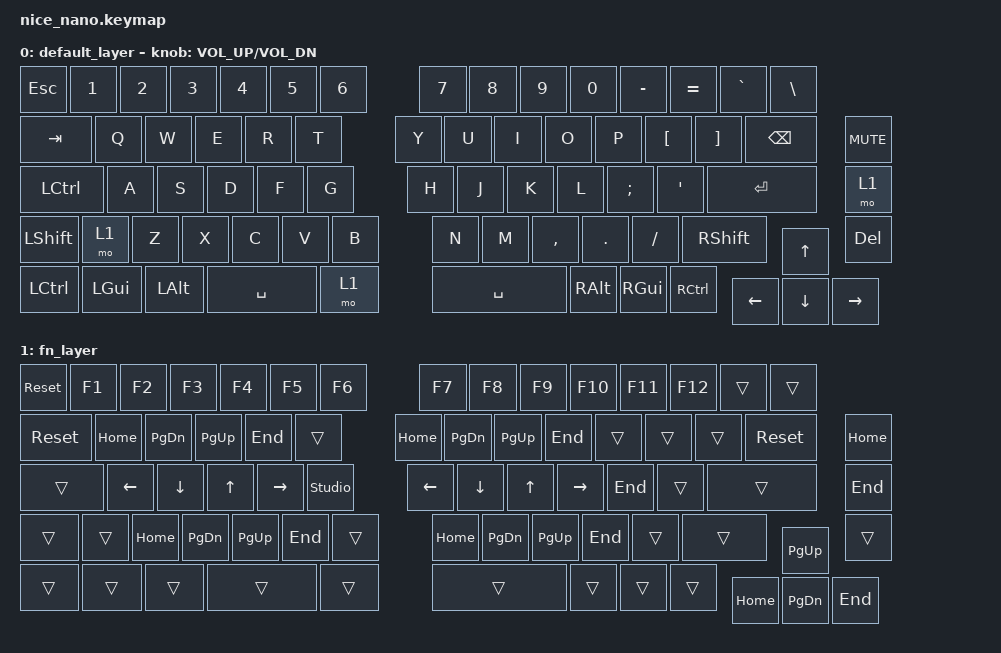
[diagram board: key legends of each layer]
/*
 * Copyright (c) 2022 The ZMK Contributors
 *
 * SPDX-License-Identifier: MIT
 */

#include <behaviors.dtsi>
#include <dt-bindings/zmk/bt.h>
#include <dt-bindings/zmk/keys.h>
#include <dt-bindings/zmk/outputs.h>
/ {
    keymap {
        compatible = "zmk,keymap";

// ----------------------------------------------      -----------------------------------------------------
// | ESC  |  1   |  2  |  3   |  4  |  5  |  6  |      |  7  |  8  |  9  |  0  |  -  |  =  |  BKSPC |  `   |
// | TAB   |  Q   |  W  |  E   |  R  |  T  |        |  Y  |  U  |  I  |  O  |  P  |  [  |  ]  |  \  | PGUP |
// | LCTRL  |  A   |  S  |  D   |  F  |  G  |        |  H  |  J  |  K  |  L  |  ;  |  '  |   ENTER  | PGDN |
// | SHIFT   |  Z   |  X  |  C  |  V   |  B  |        |  N  |  M  |  ,  |  .  |  /  |  RSHFT  |  UP | DEL  |
// | LCTRL   | LGUI | LALT |   SPACE   | FN  |        |    SPACE    | RALT | FN | RCTRL | LFT | DWN | RGHT |
// -------------------------------------------        ------------------------------------------------------

        default_layer {
            bindings = <
    &kp ESC   &kp N1   &kp N2   &kp N3    &kp N4 &kp N5 &kp N6 /**/ &kp N7    &kp N8   &kp N9    &kp N0    &kp MINUS &kp EQUAL &kp GRAVE &kp BSLH &kp C_MUTE
    &kp TAB   &kp Q    &kp W    &kp E     &kp R  &kp T         /**/ &kp Y     &kp U    &kp I     &kp O     &kp P     &kp LBKT  &kp RBKT &kp BSPC &mo 1 
    &kp LCTRL &kp A    &kp S    &kp D     &kp F  &kp G         /**/ &kp H     &kp J    &kp K     &kp L     &kp SEMI  &kp SQT   &kp RET  &kp DEL
    &kp LSHFT &mo 1    &kp Z    &kp X    &kp C   &kp V  &kp B  /**/ &kp N     &kp M    &kp COMMA &kp DOT   &kp FSLH  &kp RSHFT &kp UP
    &kp LCTRL &kp LGUI &kp LALT &kp SPACE &mo 1               /**/ &kp SPACE &kp RALT &kp RGUI     &kp RCTRL &kp LEFT  &kp DOWN  &kp RIGHT
            >;

            // for encoder, which isn't yet supported over BLE
            sensor-bindings = <&inc_dec_kp C_VOL_UP C_VOL_DN>;
        };

// ----------------------------------------------     -----------------------------------------------------
// |BT_CLR|  F1  |  F2 |  F3  |  F4 |  F5 |  F6 |     |  F7 |  F8 |  F9 | F10 | F11 | F12 |        |BT_CLR|
// |       | BT-0 | BT-1| BT-2 |     |     |       |     |     |     |     |     |     |     |     |      |
// |        |      |     |      |     |     |       |     |     |     |     |     |     |          |      |
// |         |      |     |     |      |     |       |     |     |     |     |     |         |     |      |
// |         |      |      |           |     |       |             |      |    |       |     |     |      |
// -------------------------------------------       ------------------------------------------------------

        fn_layer {
            bindings = <
    &sys_reset &kp F1       &kp F2       &kp F3       &kp F4 &kp F5 &kp F6 /**/ &kp F7 &kp F8 &kp F9 &kp F10 &kp F11 &kp F12 &trans &trans         &kp HOME
    &sys_reset &kp HOME  &kp PG_DN       &kp PG_UP &kp END &trans         /**/  &kp HOME &kp PG_DN &kp PG_UP &kp END  &trans   &trans  &trans &sys_reset         &kp END
    &trans     &kp LEFT     &kp DOWN     &kp UP &kp RIGHT &studio_unlock          /**/   &kp LEFT &kp DOWN  &kp UP  &kp RIGHT &kp END   &trans  &trans    &trans
    &trans     &trans      &kp HOME  &kp PG_DN  &kp PG_UP &kp END &trans  /**/     &kp HOME &kp PG_DN &kp PG_UP &kp END &trans    &trans  &kp PG_UP
    &trans     &trans       &trans       &trans       &trans              /**/ &trans &trans &trans &trans                   &kp HOME  &kp PG_DN  &kp END
            >;
        };
    };
};
&pro_micro {
    gpio-map = <0 0 &gpio0 8 0>,
               <1 0 &gpio0 6 0>,
               <2 0 &gpio0 17 0>,
               <3 0 &gpio0 20 0>,
               <4 0 &gpio0 22 0>,
               <5 0 &gpio0 24 0>,
               <6 0 &gpio1 0 0>,
               <7 0 &gpio0 11 0>,
               <8 0 &gpio1 4 0>,
               <9 0 &gpio1 6 0>,
               <10 0 &gpio0 9 0>,
               <16 0 &gpio0 10 0>,
               <14 0 &gpio1 11 0>,
               <15 0 &gpio1 13 0>,
               <18 0 &gpio1 15 0>,
               <19 0 &gpio0 2 0>,
               <20 0 &gpio0 29 0>,
               <21 0 &gpio0 31 0>;
};

&pro_micro_a {
    gpio-map = <0 0 &gpio1 15 0>,
               <1 0 &gpio0 2 0>,
               <2 0 &gpio0 29 0>,
               <3 0 &gpio0 31 0>,
               <6 0 &gpio0 22 0>,
               <7 0 &gpio1 0 0>,
               <8 0 &gpio1 4 0>,
               <9 0 &gpio1 6 0>,
               <10 0 &gpio0 9 0>;
};
